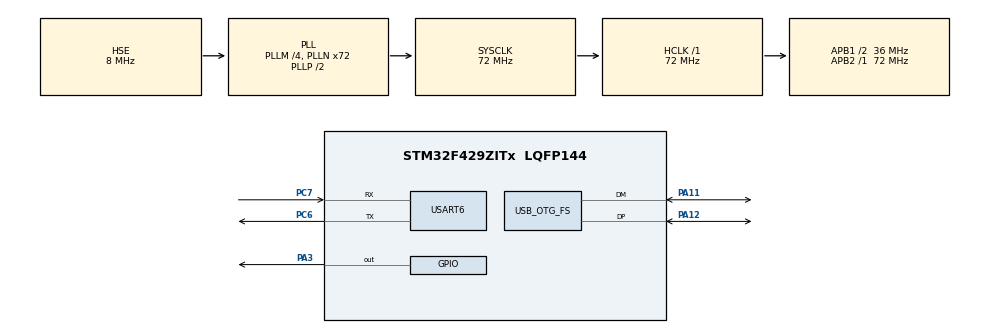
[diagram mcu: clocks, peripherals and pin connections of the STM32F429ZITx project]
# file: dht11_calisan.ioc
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Mcu.Family=STM32F4
USB_DEVICE.CLASS_NAME_FS=CDC
RCC.CortexFreq_Value=72000000
USB_DEVICE.VirtualModeFS=Cdc_FS
TIM6.Prescaler=84-1
PC6.Signal=USART6_TX
VP_TIM6_VS_ClockSourceINT.Mode=Enable_Timer
PA11.Mode=Device_Only
USB_DEVICE.VirtualMode-CDC_FS=Cdc
RCC.APB1CLKDivider=RCC_HCLK_DIV2
RCC.SYSCLKSource=RCC_SYSCLKSOURCE_PLLCLK
ProjectManager.StackSize=0x400
NVIC.USART6_IRQn=true\:0\:0\:false\:false\:true\:true\:true
PA12.Signal=USB_OTG_FS_DP
ProjectManager.TargetToolchain=STM32CubeIDE
USB_DEVICE.PRODUCT_STRING_CDC_FS=STM32 Virtual Port
PH0/OSC_IN.Mode=HSE-External-Clock-Source
PC6.Mode=Asynchronous
RCC.HCLKFreq_Value=72000000
VP_USB_DEVICE_VS_USB_DEVICE_CDC_FS.Mode=CDC_FS
RCC.APB2TimFreq_Value=72000000
PC7.Signal=USART6_RX
PH1/OSC_OUT.Signal=RCC_OSC_OUT
RCC.LSE_VALUE=32768
RCC.AHBFreq_Value=72000000
RCC.HSE_VALUE=8000000
board=custom
RCC.VCOOutputFreq_Value=144000000
PH0/OSC_IN.Signal=RCC_OSC_IN
RCC.APB2Freq_Value=72000000
TIM6.Period=0xfff-1
PH1/OSC_OUT.Mode=HSE-External-Clock-Source
Mcu.Name=STM32F429ZITx
RCC.48MHZClocksFreq_Value=48000000
RCC.SYSCLKFreq_VALUE=72000000
Mcu.Package=LQFP144
PA12.Mode=Device_Only
USART6.VirtualMode=VM_ASYNC
NVIC.OTG_FS_IRQn=true\:0\:0\:false\:false\:true\:false\:true
PA11.Signal=USB_OTG_FS_DM
USB_OTG_FS.VirtualMode=Device_Only
ProjectManager.HeapSize=0x200
RCC.HSI_VALUE=16000000
RCC.PLLQ=3
NVIC.PriorityGroup=NVIC_PRIORITYGROUP_4
RCC.PLLM=4
RCC.PLLN=72
RCC.APB1TimFreq_Value=72000000
PC7.Mode=Asynchronous
RCC.APB1Freq_Value=36000000
PA3.Signal=GPIO_Output

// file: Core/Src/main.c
/* USER CODE BEGIN Header */
/**
  ******************************************************************************
  * @file           : main.c
  * @brief          : Main program body
  ******************************************************************************
  * @attention
  *
  * <h2><center>&copy; Copyright (c) 2021 STMicroelectronics.
  * All rights reserved.</center></h2>
  *
  * This software component is licensed by ST under BSD 3-Clause license,
  * the "License"; You may not use this file except in compliance with the
  * License. You may obtain a copy of the License at:
  *                        opensource.org/licenses/BSD-3-Clause
  *
  ******************************************************************************
  */
/* USER CODE END Header */
#include "main.h"
#include "usb_device.h"

/* USER CODE BEGIN Includes */
#include "ESPDataLogger.h";
#include "usbd_cdc_if.h"
#include "string.h"
/* USER CODE END Includes */

TIM_HandleTypeDef htim6;

UART_HandleTypeDef huart6;

void SystemClock_Config(void);
static void MX_GPIO_Init(void);
static void MX_TIM6_Init(void);
static void MX_USART6_UART_Init(void);
/* USER CODE BEGIN PFP */
void delay(uint16_t time){

	__HAL_TIM_SET_COUNTER(&htim6,0);

	while(__HAL_TIM_GET_COUNTER(&htim6)< time);

}

void Set_Pin_Output(GPIO_TypeDef *GPIOx, uint16_t GPIO_Pin){

	GPIO_InitTypeDef DHT11_DATA={0};

	DHT11_DATA.Pin=GPIO_Pin;
	DHT11_DATA.Mode=GPIO_MODE_OUTPUT_PP;
	DHT11_DATA.Pull=GPIO_NOPULL;
	DHT11_DATA.Speed=GPIO_SPEED_FREQ_LOW;

	HAL_GPIO_Init(GPIOx,&DHT11_DATA);

}

void Set_Pin_Input(GPIO_TypeDef *GPIOx, uint16_t GPIO_Pin){

	GPIO_InitTypeDef DHT11_DATA={0};

	DHT11_DATA.Pin=GPIO_Pin;
	DHT11_DATA.Mode=GPIO_MODE_INPUT;
	DHT11_DATA.Pull=GPIO_NOPULL;
	DHT11_DATA.Speed=GPIO_SPEED_FREQ_LOW;

	HAL_GPIO_Init(GPIOx,&DHT11_DATA);

}

#define DHT11_PORT GPIOA
#define DHT11_PIN GPIO_PIN_3

uint8_t durum=0,Humidity=0,Temperature=0;
uint16_t tempVal=0,humVal=0;
uint8_t dhtVal[2];
uint8_t mData[40];
uint16_t mTime1 = 0, mTime2 = 0;
uint16_t mbit = 0;
uint8_t  parityVal = 0, genParity = 0;

uint8_t DHT11_Read (void){

  for(int a=0;a<40;a++) mData[a]=0;
   mTime1 = 0, mTime2 = 0, durum=0, tempVal=0, humVal=0, parityVal = 0, genParity = 0,  mbit = 0;

     Set_Pin_Output(DHT11_PORT,DHT11_PIN);
	 HAL_GPIO_WritePin(DHT11_PORT,DHT11_PIN,GPIO_PIN_RESET);
    delay(18000);
   	Set_Pin_Input(DHT11_PORT,DHT11_PIN);

	 __HAL_TIM_SET_COUNTER(&htim6, 0);				//set timer counter to zero
	while(HAL_GPIO_ReadPin(DHT11_PORT, DHT11_PIN) == GPIO_PIN_SET) if((uint16_t)__HAL_TIM_GET_COUNTER(&htim6) > 500) return 0;

	__HAL_TIM_SET_COUNTER(&htim6, 0);
	while(HAL_GPIO_ReadPin(DHT11_PORT, DHT11_PIN) == GPIO_PIN_RESET) if((uint16_t)__HAL_TIM_GET_COUNTER(&htim6) > 500) return 0;
	mTime1 = (uint16_t)__HAL_TIM_GET_COUNTER(&htim6);

	__HAL_TIM_SET_COUNTER(&htim6, 0);
	while(HAL_GPIO_ReadPin(DHT11_PORT, DHT11_PIN) == GPIO_PIN_SET) if((uint16_t)__HAL_TIM_GET_COUNTER(&htim6) > 500) return 0;
    mTime2 = (uint16_t)__HAL_TIM_GET_COUNTER(&htim6);

	if(mTime1 < 75 && mTime1 > 85 && mTime2 < 75 && mTime2 > 85)
	{

		return 0;
	}

	for(int j = 0; j < 40; j++)
	{
		__HAL_TIM_SET_COUNTER(&htim6, 0);
		while(HAL_GPIO_ReadPin(DHT11_PORT, DHT11_PIN) == GPIO_PIN_RESET) if((uint16_t)__HAL_TIM_GET_COUNTER(&htim6) > 500) return 0;
		__HAL_TIM_SET_COUNTER(&htim6, 0);
		while(HAL_GPIO_ReadPin(DHT11_PORT, DHT11_PIN) == GPIO_PIN_SET) if((uint16_t)__HAL_TIM_GET_COUNTER(&htim6) > 500) return 0;
		mTime1 = (uint16_t)__HAL_TIM_GET_COUNTER(&htim6);

		//check pass time in high state
		//if pass time 25uS set as LOW
		if(mTime1 > 20 && mTime1 < 30)
		{
			mbit = 0;
		}
		else if(mTime1 > 60 && mTime1 < 80) //if pass time 70 uS set as HIGH
		{
			 mbit = 1;
		}

		//set i th data in data buffer
		mData[j] = mbit;

	}

	//get hum value from data buffer
	for(int i = 0; i < 8; i++)
	{
		humVal += mData[i];
		humVal = humVal << 1;
	}

	//get temp value from data buffer
	for(int i = 16; i < 24; i++)
	{
		tempVal += mData[i];
		tempVal = tempVal << 1;
	}

	//get parity value from data buffer
	for(int i = 32; i < 40; i++)
	{
		parityVal += mData[i];
		parityVal = parityVal << 1;
	}

	parityVal = parityVal >> 1;
	humVal = humVal >> 1;
	tempVal = tempVal >> 1;

	genParity = humVal + tempVal;

	dhtVal[0]= tempVal;
	dhtVal[1] = humVal;

	return 1;
}
/* USER CODE END PFP */

/* USER CODE BEGIN 0 */
uint16_t dht_Val[2];
/* USER CODE END 0 */

int main(void)
{

  /* MCU Configuration--------------------------------------------------------*/

  /* Reset of all peripherals, Initializes the Flash interface and the Systick. */
  HAL_Init();

  /* Configure the system clock */
  SystemClock_Config();

  /* Initialize all configured peripherals */
  MX_GPIO_Init();
  MX_TIM6_Init();
  MX_USART6_UART_Init();
  MX_USB_DEVICE_Init();
  /* USER CODE BEGIN 2 */
  HAL_TIM_Base_Start(&htim6);
  ESP_Init("TTNET_AirTies_Air5650_8EG6","060956caak.");
  /* USER CODE END 2 */

  /* Infinite loop */
  while (1)
  {

    /* USER CODE BEGIN 3 */
	  durum=DHT11_Read();
		  	      if (durum ==1)	{Temperature=tempVal; Humidity=humVal;}
		  	      HAL_Delay(1000);
		  	     dht_Val[0]=tempVal;
		  	   dht_Val[1]=humVal;

		  	      ESP_Send_Multi("BEOXAEQ0EAYGUXQ9",2,dht_Val);
		  	     HAL_Delay (15000);

		  	   char usbdenGonderilecekData[50];
		  	  char usbdenGonderilecekData_2[50];
		  	  	  sprintf(usbdenGonderilecekData, "Isi degeri: %d C \n",Temperature);
		  	  	 sprintf(usbdenGonderilecekData_2, "Nem degeri: %d g/m3 \n",Humidity);

		  	  	 // uint8_t buf[5] = "Hello";
		  	  	  CDC_Transmit_FS(usbdenGonderilecekData, 25);
		  	  	  HAL_Delay(100);
		  	  	 CDC_Transmit_FS(usbdenGonderilecekData_2, 25);
HAL_Delay(1000);
  }
  /* USER CODE END 3 */
}

void SystemClock_Config(void)
{
  RCC_OscInitTypeDef RCC_OscInitStruct = {0};
  RCC_ClkInitTypeDef RCC_ClkInitStruct = {0};

  /** Configure the main internal regulator output voltage
  */
  __HAL_RCC_PWR_CLK_ENABLE();
  __HAL_PWR_VOLTAGESCALING_CONFIG(PWR_REGULATOR_VOLTAGE_SCALE3);
  /** Initializes the RCC Oscillators according to the specified parameters
  * in the RCC_OscInitTypeDef structure.
  */
  RCC_OscInitStruct.OscillatorType = RCC_OSCILLATORTYPE_HSE;
  RCC_OscInitStruct.HSEState = RCC_HSE_BYPASS;
  RCC_OscInitStruct.PLL.PLLState = RCC_PLL_ON;
  RCC_OscInitStruct.PLL.PLLSource = RCC_PLLSOURCE_HSE;
  RCC_OscInitStruct.PLL.PLLM = 4;
  RCC_OscInitStruct.PLL.PLLN = 72;
  RCC_OscInitStruct.PLL.PLLP = RCC_PLLP_DIV2;
  RCC_OscInitStruct.PLL.PLLQ = 3;
  if (HAL_RCC_OscConfig(&RCC_OscInitStruct) != HAL_OK)
  {
    Error_Handler();
  }
  /** Initializes the CPU, AHB and APB buses clocks
  */
  RCC_ClkInitStruct.ClockType = RCC_CLOCKTYPE_HCLK|RCC_CLOCKTYPE_SYSCLK
                              |RCC_CLOCKTYPE_PCLK1|RCC_CLOCKTYPE_PCLK2;
  RCC_ClkInitStruct.SYSCLKSource = RCC_SYSCLKSOURCE_PLLCLK;
  RCC_ClkInitStruct.AHBCLKDivider = RCC_SYSCLK_DIV1;
  RCC_ClkInitStruct.APB1CLKDivider = RCC_HCLK_DIV2;
  RCC_ClkInitStruct.APB2CLKDivider = RCC_HCLK_DIV1;

  if (HAL_RCC_ClockConfig(&RCC_ClkInitStruct, FLASH_LATENCY_2) != HAL_OK)
  {
    Error_Handler();
  }
}

static void MX_TIM6_Init(void)
{

  TIM_MasterConfigTypeDef sMasterConfig = {0};

  htim6.Instance = TIM6;
  htim6.Init.Prescaler = 84-1;
  htim6.Init.CounterMode = TIM_COUNTERMODE_UP;
  htim6.Init.Period = 0xffff-1;
  htim6.Init.AutoReloadPreload = TIM_AUTORELOAD_PRELOAD_DISABLE;
  if (HAL_TIM_Base_Init(&htim6) != HAL_OK)
  {
    Error_Handler();
  }
  sMasterConfig.MasterOutputTrigger = TIM_TRGO_RESET;
  sMasterConfig.MasterSlaveMode = TIM_MASTERSLAVEMODE_DISABLE;
  if (HAL_TIMEx_MasterConfigSynchronization(&htim6, &sMasterConfig) != HAL_OK)
  {
    Error_Handler();
  }

}

static void MX_USART6_UART_Init(void)
{

  huart6.Instance = USART6;
  huart6.Init.BaudRate = 115200;
  huart6.Init.WordLength = UART_WORDLENGTH_8B;
  huart6.Init.StopBits = UART_STOPBITS_1;
  huart6.Init.Parity = UART_PARITY_NONE;
  huart6.Init.Mode = UART_MODE_TX_RX;
  huart6.Init.HwFlowCtl = UART_HWCONTROL_NONE;
  huart6.Init.OverSampling = UART_OVERSAMPLING_16;
  if (HAL_UART_Init(&huart6) != HAL_OK)
  {
    Error_Handler();
  }

}

static void MX_GPIO_Init(void)
{
  GPIO_InitTypeDef GPIO_InitStruct = {0};

  /* GPIO Ports Clock Enable */
  __HAL_RCC_GPIOH_CLK_ENABLE();
  __HAL_RCC_GPIOA_CLK_ENABLE();
  __HAL_RCC_GPIOC_CLK_ENABLE();

  /*Configure GPIO pin Output Level */
  HAL_GPIO_WritePin(GPIOA, GPIO_PIN_3, GPIO_PIN_RESET);

  /*Configure GPIO pin : PA3 */
  GPIO_InitStruct.Pin = GPIO_PIN_3;
  GPIO_InitStruct.Mode = GPIO_MODE_OUTPUT_PP;
  GPIO_InitStruct.Pull = GPIO_NOPULL;
  GPIO_InitStruct.Speed = GPIO_SPEED_FREQ_LOW;
  HAL_GPIO_Init(GPIOA, &GPIO_InitStruct);

}

void Error_Handler(void)
{
  __disable_irq();
  while (1)
  {
  }
}

/************************ (C) COPYRIGHT STMicroelectronics *****END OF FILE****/
